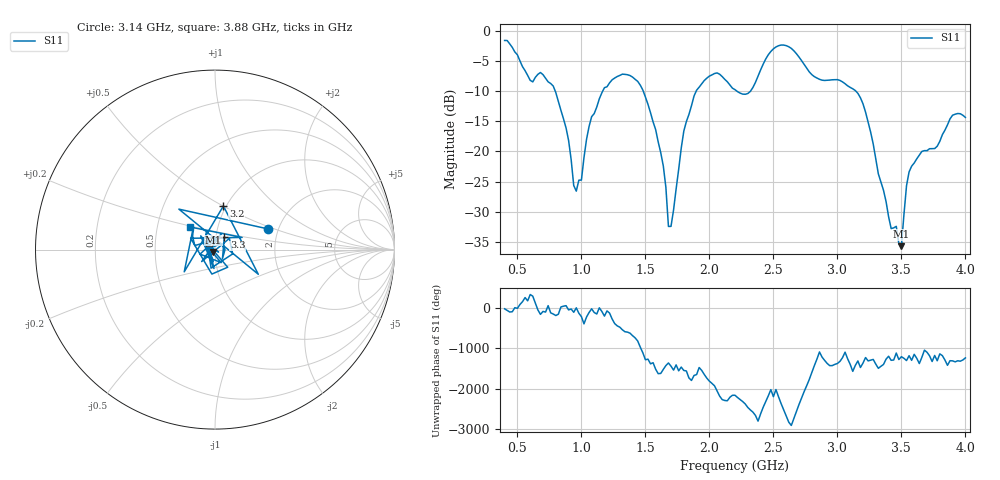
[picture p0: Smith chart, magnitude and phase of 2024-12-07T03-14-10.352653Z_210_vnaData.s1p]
!Created with skrf (http://scikit-rf.org).
# Hz S RI R 50.0
!freq ReS11 ImS11
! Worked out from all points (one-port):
!   181 points, 400 MHz to 4 GHz, reference 50 ohm
!   lowest |S11| = -35.7 dB at 3.5 GHz (marker M1), VSWR 1.03, Z = 49.1 - j1.34 ohm
!   |S11| at or under -10 dB: 795.1 MHz to 1.167 GHz (371.9 MHz wide, 37.9 % of centre); 1.483 GHz to 1.897 GHz (414.8 MHz wide, 24.5 % of centre); 3.143 GHz to end of sweep (the widest 3 of 4)
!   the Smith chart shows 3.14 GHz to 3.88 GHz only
!   S11 on the Smith chart (normalised r, x): 3.14 GHz: 1.77, +0.45; 3.2 GHz: 0.97, +0.50; 3.3 GHz: 1.10, +0.15; 3.88 GHz: 0.74, +0.19
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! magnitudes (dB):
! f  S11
! 400 MHz  -1.6
! 600 MHz  -8.2
! 780 MHz  -9.2
! 860 MHz  -14.6
! 960 MHz  -26.6
! 1.08 GHz  -14.3
! 1.3 GHz  -7.4
! 1.52 GHz  -12.2
! 1.64 GHz  -22.4
! 1.68 GHz  -32.4
! 1.7 GHz  -32.4
! 1.76 GHz  -23.0
! 1.8 GHz  -16.6
! 1.9 GHz  -9.9
! 2.06 GHz  -7.0
! 2.2 GHz  -9.8
! 2.32 GHz  -10.1
! 2.52 GHz  -2.7
! 2.66 GHz  -3.4
! 3.1 GHz  -9.4
! 3.14 GHz  -9.9
! 3.2 GHz  -12.1
! 3.3 GHz  -21.2
! 3.42 GHz  -32.8
! 3.5 GHz  -35.7
! 3.56 GHz  -23.4
! 3.88 GHz  -14.6
! 4 GHz  -14.4
